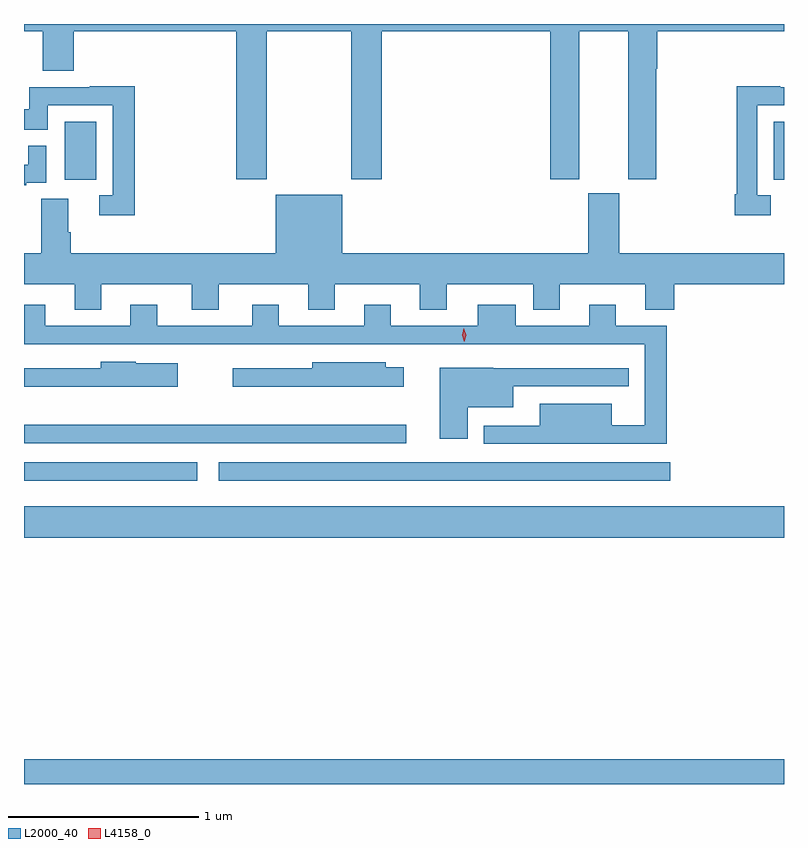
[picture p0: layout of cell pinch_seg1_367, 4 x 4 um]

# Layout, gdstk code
import gdstk
lib = gdstk.Library(unit=1e-6, precision=1e-09)
def R(c, l, rs):  # rectangles x0, y0, x1, y1
    for r in rs: c.add(gdstk.rectangle(r[:2], r[2:], *l))
def P(c, l, *ps):  # polygons
    for p in ps: c.add(gdstk.Polygon(p, *l))
L2000_40 = (2000, 40)
L4158_0 = (4158, 0)

pinch_seg1_367 = lib.new_cell('pinch_seg1_367')
R(pinch_seg1_367, L2000_40, [(982.329,529.123,986.329,529.252), (982.329,530.42,986.329,530.584), (982.329,530.72,983.242,530.817), (983.355,530.72,985.729,530.817), (982.329,530.916,984.34,531.014), (982.544,532.302,982.708,532.609), (986.276,532.302,986.329,532.609)])
P(pinch_seg1_367, L2000_40, [(982.329,533.084),(982.427,533.084),(982.427,532.876),(982.592,532.876),(982.592,533.084),(983.447,533.084),(983.447,532.305),(983.607,532.305),(983.607,533.084),(984.052,533.084),(984.052,532.305),(984.212,532.305),(984.212,533.084),(985.1,533.084),(985.1,532.305),(985.252,532.305),(985.252,533.084),(985.508,533.084),(985.508,532.305),(985.656,532.305),(985.656,532.888),(985.661,532.888),(985.661,533.084),(986.329,533.084),(986.329,533.123),(982.329,533.123)],
  [(986.26,532.221),(986.187,532.221),(986.187,532.695),(986.329,532.695),(986.329,532.791),(986.309,532.791),(986.309,532.796),(986.079,532.796),(986.079,532.228),(986.071,532.228),(986.071,532.116),(986.26,532.116)],
  [(982.913,532.796),(982.675,532.796),(982.675,532.791),(982.357,532.791),(982.357,532.674),(982.329,532.674),(982.329,532.566),(982.455,532.566),(982.455,532.695),(982.797,532.695),(982.797,532.221),(982.725,532.221),(982.725,532.116),(982.913,532.116)],
  [(982.34,532.287),(982.446,532.287),(982.446,532.481),(982.351,532.481),(982.351,532.383),(982.329,532.383),(982.329,532.275),(982.34,532.275)],
  [(982.735,531.752),(983.213,531.752),(983.213,531.619),(983.353,531.619),(983.353,531.752),(983.825,531.752),(983.825,531.619),(983.965,531.619),(983.965,531.752),(984.413,531.752),(984.413,531.619),(984.553,531.619),(984.553,531.752),(985.01,531.752),(985.01,531.619),(985.15,531.619),(985.15,531.752),(985.598,531.752),(985.598,531.619),(985.751,531.619),(985.751,531.752),(986.329,531.752),(986.329,531.916),(985.462,531.916),(985.462,532.233),(985.298,532.233),(985.298,531.916),(984.004,531.916),(984.004,532.225),(983.654,532.225),(983.654,531.916),(982.574,531.916),(982.574,532.028),(982.561,532.028),(982.561,532.202),(982.421,532.202),(982.421,531.916),(982.329,531.916),(982.329,531.752),(982.595,531.752),(982.595,531.619),(982.735,531.619)],
  [(985.712,531.534),(985.444,531.534),(985.444,531.646),(985.304,531.646),(985.304,531.534),(984.916,531.534),(984.916,531.646),(984.716,531.646),(984.716,531.534),(984.259,531.534),(984.259,531.646),(984.119,531.646),(984.119,531.534),(983.671,531.534),(983.671,531.646),(983.531,531.646),(983.531,531.534),(983.029,531.534),(983.029,531.646),(982.889,531.646),(982.889,531.534),(982.441,531.534),(982.441,531.646),(982.329,531.646),(982.329,531.438),(985.596,531.438),(985.596,531.011),(985.423,531.011),(985.423,531.124),(985.043,531.124),(985.043,531.009),(984.749,531.009),(984.749,530.913),(985.712,530.913)],
  [(983.137,531.337),(982.917,531.337),(982.917,531.346),(982.733,531.346),(982.733,531.312),(982.329,531.312),(982.329,531.215),(983.137,531.215)],
  [(984.328,531.316),(984.234,531.316),(984.234,531.343),(983.846,531.343),(983.846,531.312),(983.427,531.312),(983.427,531.215),(984.328,531.215)],
  [(984.664,531.107),(984.904,531.107),(984.904,531.216),(985.511,531.216),(985.511,531.311),(985.4,531.311),(985.4,531.312),(984.8,531.312),(984.8,531.313),(984.518,531.313),(984.518,530.94),(984.664,530.94)])
P(pinch_seg1_367, L4158_0, [(984.647,531.45),(984.647,531.451),(984.636,531.485),(984.644,531.521),(984.644,531.521),(984.644,531.521),(984.656,531.486),(984.647,531.451)])

lib.write_gds('pinch_seg1_367.gds')
